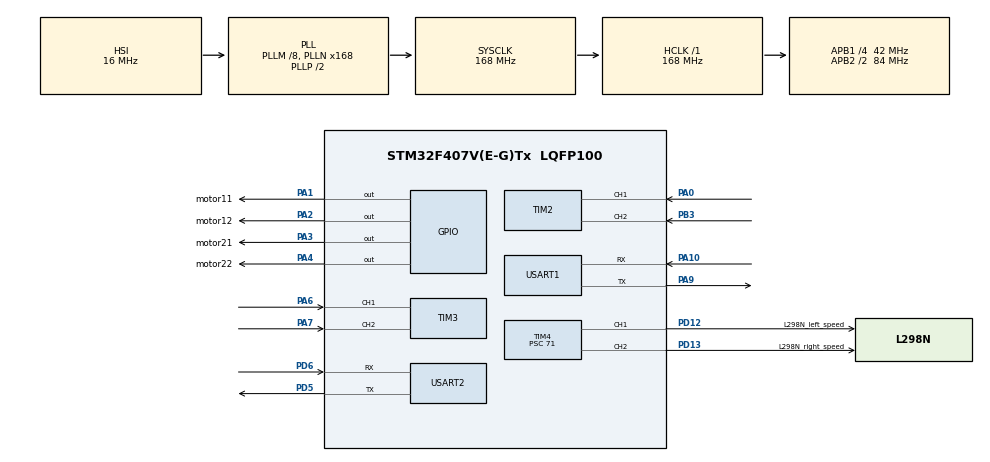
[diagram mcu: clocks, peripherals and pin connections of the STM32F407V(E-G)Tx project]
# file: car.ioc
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Dma.Request0=USART2_RX
Dma.Request1=USART2_TX
Dma.USART2_RX.0.Direction=DMA_PERIPH_TO_MEMORY
Dma.USART2_RX.0.FIFOMode=DMA_FIFOMODE_DISABLE
Dma.USART2_RX.0.Instance=DMA1_Stream5
Dma.USART2_RX.0.MemDataAlignment=DMA_MDATAALIGN_BYTE
Dma.USART2_RX.0.MemInc=DMA_MINC_ENABLE
Dma.USART2_RX.0.Mode=DMA_NORMAL
Dma.USART2_RX.0.PeriphDataAlignment=DMA_PDATAALIGN_BYTE
Dma.USART2_RX.0.PeriphInc=DMA_PINC_DISABLE
Dma.USART2_RX.0.Priority=DMA_PRIORITY_LOW
Dma.USART2_TX.1.Direction=DMA_MEMORY_TO_PERIPH
Dma.USART2_TX.1.FIFOMode=DMA_FIFOMODE_DISABLE
Dma.USART2_TX.1.Instance=DMA1_Stream6
Dma.USART2_TX.1.MemDataAlignment=DMA_MDATAALIGN_BYTE
Dma.USART2_TX.1.MemInc=DMA_MINC_ENABLE
Dma.USART2_TX.1.Mode=DMA_NORMAL
Dma.USART2_TX.1.PeriphDataAlignment=DMA_PDATAALIGN_BYTE
Dma.USART2_TX.1.PeriphInc=DMA_PINC_DISABLE
Dma.USART2_TX.1.Priority=DMA_PRIORITY_LOW
Mcu.Family=STM32F4
Mcu.Name=STM32F407V(E-G)Tx
Mcu.Package=LQFP100
NVIC.DMA1_Stream5_IRQn=true\:0\:0\:false\:false\:true\:false\:true\:true
NVIC.DMA1_Stream6_IRQn=true\:0\:0\:false\:false\:true\:false\:true\:true
NVIC.PriorityGroup=NVIC_PRIORITYGROUP_4
NVIC.TIM1_BRK_TIM9_IRQn=true\:0\:0\:false\:false\:true\:true\:true\:true
NVIC.USART2_IRQn=true\:0\:0\:false\:false\:true\:true\:true\:true
PA0-WKUP.Signal=S_TIM2_CH1_ETR
PA1.GPIO_Label=motor11
PA1.Signal=GPIO_Output
PA10.Mode=Asynchronous
PA10.Signal=USART1_RX
PA13.Mode=Serial_Wire
PA13.Signal=SYS_JTMS-SWDIO
PA14.Mode=Serial_Wire
PA14.Signal=SYS_JTCK-SWCLK
PA2.GPIO_Label=motor12
PA2.Signal=GPIO_Output
PA3.GPIO_Label=motor21
PA3.Signal=GPIO_Output
PA4.GPIO_Label=motor22
PA4.Signal=GPIO_Output
PA6.Signal=S_TIM3_CH1
PA7.Signal=S_TIM3_CH2
PA9.Mode=Asynchronous
PA9.Signal=USART1_TX
PB3.Signal=S_TIM2_CH2
PD12.GPIO_Label=L298N_left_speed
PD12.GPIO_Speed=GPIO_SPEED_FREQ_HIGH
PD12.Signal=S_TIM4_CH1
PD13.GPIO_Label=L298N_right_speed
PD13.GPIO_Speed=GPIO_SPEED_FREQ_HIGH
PD13.Signal=S_TIM4_CH2
PD5.Mode=Asynchronous
PD5.Signal=USART2_TX
PD6.Mode=Asynchronous
PD6.Signal=USART2_RX
PH0-OSC_IN.Mode=HSE-External-Oscillator
PH0-OSC_IN.Signal=RCC_OSC_IN
PH1-OSC_OUT.Mode=HSE-External-Oscillator
PH1-OSC_OUT.Signal=RCC_OSC_OUT
ProjectManager.HeapSize=0x200
ProjectManager.StackSize=0x400
ProjectManager.TargetToolchain=MDK-ARM V5.32
RCC.48MHZClocksFreq_Value=84000000
RCC.AHBFreq_Value=168000000
RCC.APB1CLKDivider=RCC_HCLK_DIV4
RCC.APB1Freq_Value=42000000
RCC.APB1TimFreq_Value=84000000
RCC.APB2CLKDivider=RCC_HCLK_DIV2
RCC.APB2Freq_Value=84000000
RCC.APB2TimFreq_Value=168000000
RCC.CortexFreq_Value=168000000
RCC.HCLKFreq_Value=168000000
RCC.HSE_VALUE=8000000
RCC.HSI_VALUE=16000000
RCC.LSE_VALUE=32768
RCC.PLLM=8
RCC.PLLN=168
RCC.SYSCLKFreq_VALUE=168000000
RCC.SYSCLKSource=RCC_SYSCLKSOURCE_PLLCLK
RCC.VCOOutputFreq_Value=336000000
SH.S_TIM2_CH1_ETR.0=TIM2_CH1,Encoder_Interface
SH.S_TIM2_CH2.0=TIM2_CH2,Encoder_Interface
SH.S_TIM3_CH1.0=TIM3_CH1,Encoder_Interface
SH.S_TIM3_CH2.0=TIM3_CH2,Encoder_Interface
SH.S_TIM4_CH1.0=TIM4_CH1,PWM Generation1 CH1
SH.S_TIM4_CH2.0=TIM4_CH2,PWM Generation2 CH2
TIM2.EncoderMode=TIM_ENCODERMODE_TI12
TIM2.IC1Filter=10
TIM2.IC2Filter=10
TIM3.EncoderMode=TIM_ENCODERMODE_TI12
TIM3.IC1Filter=10
TIM3.IC2Filter=10
TIM4.AutoReloadPreload=TIM_AUTORELOAD_PRELOAD_ENABLE
TIM4.Channel-PWM\ Generation1\ CH1=TIM_CHANNEL_1
TIM4.Channel-PWM\ Generation2\ CH2=TIM_CHANNEL_2
TIM4.Period=99
TIM4.Prescaler=71
TIM9.Period=99
TIM9.Prescaler=7199
USART1.VirtualMode=VM_ASYNC
USART2.VirtualMode=VM_ASYNC
VP_TIM4_VS_ClockSourceINT.Mode=Internal
VP_TIM9_VS_ClockSourceINT.Mode=Internal
board=custom

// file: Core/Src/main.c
/* USER CODE BEGIN Header */
/**
  ******************************************************************************
  * @file           : main.c
  * @brief          : Main program body
  ******************************************************************************
  * @attention
  *
  * Copyright (c) 2023 STMicroelectronics.
  * All rights reserved.
  *
  * This software is licensed under terms that can be found in the LICENSE file
  * in the root directory of this software component.
  * If no LICENSE file comes with this software, it is provided AS-IS.
  *
  ******************************************************************************
  */
/* USER CODE END Header */
#include "main.h"
#include "dma.h"
#include "tim.h"
#include "usart.h"
#include "gpio.h"

/* USER CODE BEGIN Includes */
#include "motor.h"
#include "encoder.h"
#include <stdio.h>
#include <string.h>
#include <stdlib.h>
/* USER CODE END Includes */

/* USER CODE BEGIN PTD */
///////////////////////////
//Blue_send_recieve
uint8_t receive_buff[255];
int data_length=11;
#define USART_TX_LEN 11
uint8_t USART_TX_BUF[USART_TX_LEN];

///////////////////////////////
void recieve(void);
void send(void);

int ble_send(uint8_t *data,int len);
void Float_to_Byte(float f,uint8_t *byte);
void Short_to_Byte(short s,uint8_t *byte);
void Int_to_Byte(int i,uint8_t *byte);

void encoder_speed(void);

typedef struct {
    uint8_t option;
		int x;
    int y;
} RecData;

 RecData rec_data;//蓝牙接收摇杆数据

float rmp_left,rmp_right;//目前转速

int target_rpm_right=70;//结算后的目标转速
int target_rpm_left=70;//目标转速
/* USER CODE END PTD */

/* USER CODE BEGIN PV */
uint32_t speed = 50 ;

//pid
int Encoder_count_left,Encoder_count_right,Target_Velocity_left,Target_Velocity_right;
float Velocity_KP=1,Velocity_KI=0.07,Velocity_KD=0.05;

int Moto_pwm_left=0;
int Moto_pwm_right=0;
/* USER CODE END PV */

void SystemClock_Config(void);

int main(void)
{

  /* MCU Configuration--------------------------------------------------------*/

  /* Reset of all peripherals, Initializes the Flash interface and the Systick. */
  HAL_Init();

  /* Configure the system clock */
  SystemClock_Config();

  /* Initialize all configured peripherals */
  MX_GPIO_Init();
  MX_DMA_Init();
  MX_TIM4_Init();
  MX_TIM2_Init();
  MX_USART1_UART_Init();
  MX_TIM9_Init();
  MX_TIM3_Init();
  MX_USART2_UART_Init();
  /* USER CODE BEGIN 2 */
   HAL_TIM_Encoder_Start(&htim2, TIM_CHANNEL_ALL);//开启TIM2的编码器接口模式
	  HAL_TIM_Encoder_Start(&htim3, TIM_CHANNEL_ALL);//开启TIM3的编码器接口模式

		//PWM输出
		HAL_TIM_PWM_Start(&htim4, TIM_CHANNEL_1);
		HAL_TIM_PWM_Start(&htim4, TIM_CHANNEL_2);

		__HAL_TIM_SET_COMPARE(&htim4, TIM_CHANNEL_1,speed);
		__HAL_TIM_SET_COMPARE(&htim4, TIM_CHANNEL_2,speed);

		car_go_straight();
		//HAL_Delay(1000);

		HAL_TIM_Base_Start_IT(&htim9);

  /* USER CODE END 2 */

  /* Infinite loop */
  while (1)
  {

    /* USER CODE BEGIN 3 */
		HAL_UART_Receive_DMA(&huart2, (uint8_t*)receive_buff, data_length);
		recieve();//recieve
		send();//send
		encoder_speed();

  }
  /* USER CODE END 3 */
}

void SystemClock_Config(void)
{
  RCC_OscInitTypeDef RCC_OscInitStruct = {0};
  RCC_ClkInitTypeDef RCC_ClkInitStruct = {0};

  /** Configure the main internal regulator output voltage
  */
  __HAL_RCC_PWR_CLK_ENABLE();
  __HAL_PWR_VOLTAGESCALING_CONFIG(PWR_REGULATOR_VOLTAGE_SCALE1);

  /** Initializes the RCC Oscillators according to the specified parameters
  * in the RCC_OscInitTypeDef structure.
  */
  RCC_OscInitStruct.OscillatorType = RCC_OSCILLATORTYPE_HSI;
  RCC_OscInitStruct.HSIState = RCC_HSI_ON;
  RCC_OscInitStruct.HSICalibrationValue = RCC_HSICALIBRATION_DEFAULT;
  RCC_OscInitStruct.PLL.PLLState = RCC_PLL_ON;
  RCC_OscInitStruct.PLL.PLLSource = RCC_PLLSOURCE_HSI;
  RCC_OscInitStruct.PLL.PLLM = 8;
  RCC_OscInitStruct.PLL.PLLN = 168;
  RCC_OscInitStruct.PLL.PLLP = RCC_PLLP_DIV2;
  RCC_OscInitStruct.PLL.PLLQ = 4;
  if (HAL_RCC_OscConfig(&RCC_OscInitStruct) != HAL_OK)
  {
    Error_Handler();
  }

  /** Initializes the CPU, AHB and APB buses clocks
  */
  RCC_ClkInitStruct.ClockType = RCC_CLOCKTYPE_HCLK|RCC_CLOCKTYPE_SYSCLK
                              |RCC_CLOCKTYPE_PCLK1|RCC_CLOCKTYPE_PCLK2;
  RCC_ClkInitStruct.SYSCLKSource = RCC_SYSCLKSOURCE_PLLCLK;
  RCC_ClkInitStruct.AHBCLKDivider = RCC_SYSCLK_DIV1;
  RCC_ClkInitStruct.APB1CLKDivider = RCC_HCLK_DIV4;
  RCC_ClkInitStruct.APB2CLKDivider = RCC_HCLK_DIV2;

  if (HAL_RCC_ClockConfig(&RCC_ClkInitStruct, FLASH_LATENCY_5) != HAL_OK)
  {
    Error_Handler();
  }
}

/* USER CODE BEGIN 4 */
void recieve(void){
				rec_data.x = *((int *) (&receive_buff[1]));
				rec_data.y = *((int *) (&receive_buff[5]));

				//printf("decodertest");
				//printf("x=%d ",rec_data.x);
				//printf("y=%d",rec_data.y);

}

void send(void){//send speed to phone
		USART_TX_BUF[0] = 0xA5;

		Float_to_Byte(rmp_left,&USART_TX_BUF[1]);
		Float_to_Byte(rmp_right,&USART_TX_BUF[5]);

		USART_TX_BUF[9] =(uint8_t) ((USART_TX_BUF[1]+USART_TX_BUF[2]+USART_TX_BUF[3]+USART_TX_BUF[4]+USART_TX_BUF[5]+USART_TX_BUF[6]+USART_TX_BUF[7]+USART_TX_BUF[8])&0xff);

		USART_TX_BUF[10] = 0x5A;

		ble_send(USART_TX_BUF,11);

}

//send data to hc-05
int ble_send(uint8_t *data,int len)
{
	while(__HAL_UART_GET_FLAG(&huart2,UART_FLAG_TC)!=SET);	//wait until tx complete
	if(!data)return -1;
	HAL_UART_Transmit_DMA(&huart2,(uint8_t *)data,len);	//使用DMA模式发送
	while(__HAL_UART_GET_FLAG(&huart2,UART_FLAG_TC)!=SET);
	return 0;
}

//change to byte
void Int_to_Byte(int i,uint8_t *byte)
{

	unsigned long longdata = 0;
	longdata = *(unsigned long*)&i;
	byte[3] = (longdata & 0xFF000000) >> 24;
	byte[2] = (longdata & 0x00FF0000) >> 16;
	byte[1] = (longdata & 0x0000FF00) >> 8;
	byte[0] = (longdata & 0x000000FF);

}
void Float_to_Byte(float f,uint8_t *byte)
{

	unsigned long longdata = 0;
	longdata = *(unsigned long*)&f;
	byte[3] = (longdata & 0xFF000000) >> 24;
	byte[2] = (longdata & 0x00FF0000) >> 16;
	byte[1] = (longdata & 0x0000FF00) >> 8;
	byte[0] = (longdata & 0x000000FF);

}

void Short_to_Byte(short s,uint8_t *byte)
{

	byte[1] = (s & 0xFF00) >> 8;
	byte[0] = (s & 0xFF);
}

void encoder_speed(void){
		int x_abs = abs(rec_data.x);
		int y_abs = abs(rec_data.y);
		int target_rpm_left_abs;
		int target_rpm_right_abs;

		if(rec_data.x>=0){
			target_rpm_left_abs=2*y_abs+0.5*x_abs;
			target_rpm_right_abs=2*y_abs-0.5*x_abs;

			if(rec_data.y>=0){
				target_rpm_left=target_rpm_left_abs;
				target_rpm_right=target_rpm_right_abs;
			}
			else{
				target_rpm_left=-target_rpm_left_abs;
				target_rpm_right=-target_rpm_right_abs;
			}
		}

		if(rec_data.x<0){
			target_rpm_left_abs=2*y_abs-0.5*x_abs;
			target_rpm_right_abs=2*y_abs+0.5*x_abs;
			if(rec_data.y>=0){
				target_rpm_left=target_rpm_left_abs;
				target_rpm_right=target_rpm_right_abs;
			}
			else{
				target_rpm_left=-target_rpm_left_abs;
				target_rpm_right=-target_rpm_right_abs;
			}
		}

		printf("target_rpm_left=%d ",target_rpm_left);
		printf("target_rpm_right=%d\n\n ",target_rpm_right);
}
/* USER CODE END 4 */

void Error_Handler(void)
{
  __disable_irq();
  while (1)
  {
  }
}
